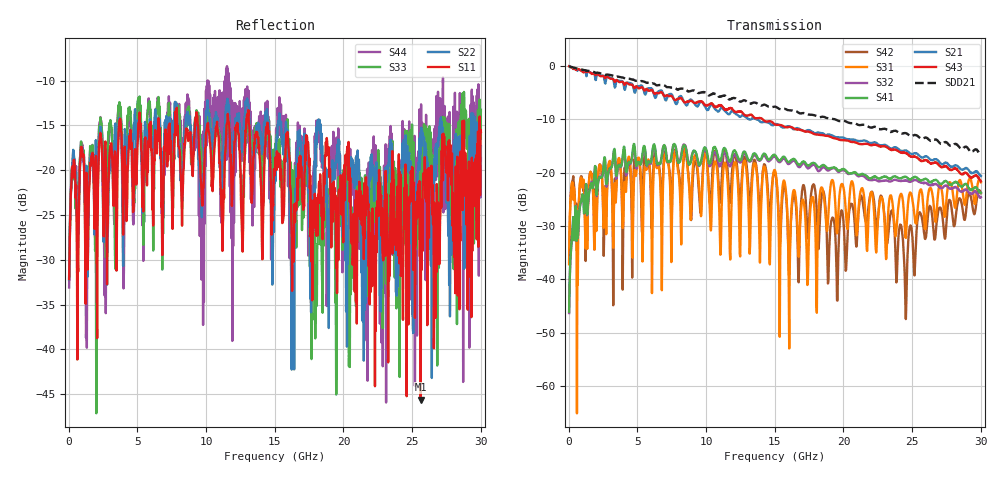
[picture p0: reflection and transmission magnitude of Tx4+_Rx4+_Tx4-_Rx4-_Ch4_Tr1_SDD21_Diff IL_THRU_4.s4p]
! MS46524B
! 2314202/M1: 22492055/M2: 21112458
! 12/30/2025 3:20:40 PM
! C:\ANRITSUVNA\TEMP\4.S4P
! CHANNEL.4
! TR.MEASUREMENT
! CORRECTED.DATA
# GHZ S RI R 50.0
! FREQ.GHZ  S11RE  S11IM  S12RE  S12IM  S13RE  S13IM  S14RE  S14IM
!  S21RE  S21IM  S22RE  S22IM  S23RE  S23IM  S24RE  S24IM
!  S31RE  S31IM  S32RE  S32IM  S33RE  S33IM  S34RE  S34IM
!  S41RE  S41IM  S42RE  S42IM  S43RE  S43IM  S44RE  S44IM
!; PortSelection: Port_1234
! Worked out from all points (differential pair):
!   1000 points, 30 MHz to 30 GHz, reference 50 ohm
!   strongest paths, dB at 30 MHz, 7.53 GHz, 15.03 GHz, 22.53 GHz, 30 GHz:
!     S43: -0.1, -5.8, -11.0, -15.0, -21.6
!     S21: -0.1, -5.5, -10.9, -14.7, -20.7
!     S41: -46.1, -16.0, -16.7, -21.1, -23.8
!     S32: -46.3, -16.0, -17.1, -21.6, -24.6
!     S31: -37.2, -25.6, -19.7, -28.0, -21.8
!     S42: -36.8, -25.2, -20.1, -27.9, -23.9
!   taken as a pair (ports 3,1 in; 4,2 out), SDD21 dB: 0.0, -4.1, -7.6, -11.8, -16.7
!   lowest |S11| = -45.6 dB at 25.62 GHz (marker M1), VSWR 1.01, Z = 49.6 + j0.352 ohm
!   |S11| at or under -10 dB: start of sweep to end of sweep
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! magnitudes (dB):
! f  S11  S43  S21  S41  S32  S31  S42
! 30 MHz  -32.2  -0.1  -0.1  -46.1  -46.3  -37.2  -36.8
! 4.71 GHz  -24.5  -3.9  -4.0  -14.9  -15.5  -25.0  -21.3
! 15.33 GHz  -19.7  -11.1  -11.1  -17.8  -18.0  -39.8  -31.8
! 16.32 GHz  -29.3  -11.6  -11.8  -17.5  -17.8  -23.8  -24.9
! 16.77 GHz  -20.8  -11.9  -11.8  -18.5  -19.0  -34.5  -36.2
! 25.62 GHz  -45.6  -17.7  -17.0  -21.4  -21.9  -23.2  -27.7
! 30 GHz  -15.7  -21.6  -20.7  -23.8  -24.6  -21.8  -23.9
